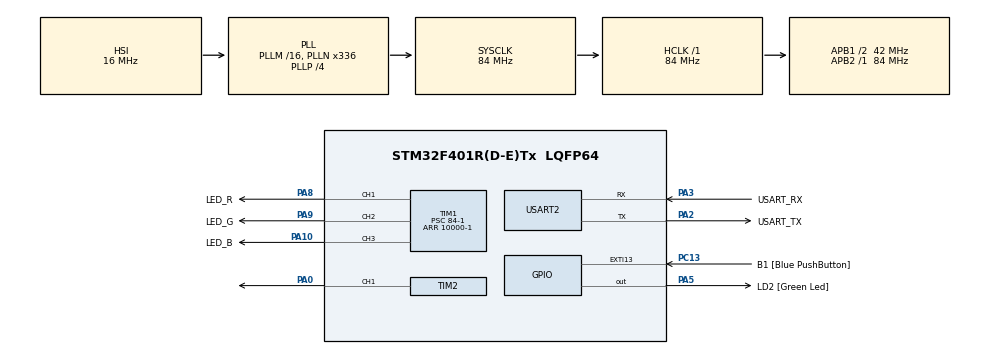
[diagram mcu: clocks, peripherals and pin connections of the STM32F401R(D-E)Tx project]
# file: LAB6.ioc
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Mcu.Family=STM32F4
Mcu.Name=STM32F401R(D-E)Tx
Mcu.Package=LQFP64
NVIC.PriorityGroup=NVIC_PRIORITYGROUP_0
NVIC.TIM1_UP_TIM10_IRQn=true\:0\:0\:false\:false\:true\:true\:true\:true
NVIC.TIM2_IRQn=true\:0\:0\:false\:false\:true\:true\:true\:true
PA0-WKUP.Signal=S_TIM2_CH1_ETR
PA10.GPIO_Label=LED_B
PA10.Signal=S_TIM1_CH3
PA13.GPIO_Label=TMS
PA13.Mode=Serial_Wire
PA13.Signal=SYS_JTMS-SWDIO
PA14.GPIO_Label=TCK
PA14.Mode=Serial_Wire
PA14.Signal=SYS_JTCK-SWCLK
PA2.GPIO_Label=USART_TX
PA2.GPIO_Mode=GPIO_MODE_AF_PP
PA2.GPIO_PuPd=GPIO_NOPULL
PA2.GPIO_Speed=GPIO_SPEED_FREQ_LOW
PA2.Mode=Asynchronous
PA2.Signal=USART2_TX
PA3.GPIO_Label=USART_RX
PA3.GPIO_Mode=GPIO_MODE_AF_PP
PA3.GPIO_PuPd=GPIO_NOPULL
PA3.GPIO_Speed=GPIO_SPEED_FREQ_LOW
PA3.Mode=Asynchronous
PA3.Signal=USART2_RX
PA5.GPIO_Label=LD2 [Green Led]
PA5.GPIO_Mode=GPIO_MODE_OUTPUT_PP
PA5.GPIO_PuPd=GPIO_NOPULL
PA5.GPIO_Speed=GPIO_SPEED_FREQ_LOW
PA5.Signal=GPIO_Output
PA8.GPIO_Label=LED_R
PA8.Signal=S_TIM1_CH1
PA9.GPIO_Label=LED_G
PA9.Signal=S_TIM1_CH2
PB3.GPIO_Label=SWO
PB3.Signal=SYS_JTDO-SWO
PC13-ANTI_TAMP.GPIO_Label=B1 [Blue PushButton]
PC13-ANTI_TAMP.GPIO_ModeDefaultEXTI=GPIO_MODE_IT_FALLING
PC13-ANTI_TAMP.GPIO_PuPd=GPIO_NOPULL
PC13-ANTI_TAMP.Signal=GPXTI13
PC14-OSC32_IN.Mode=LSE-External-Oscillator
PC14-OSC32_IN.Signal=RCC_OSC32_IN
PC15-OSC32_OUT.Mode=LSE-External-Oscillator
PC15-OSC32_OUT.Signal=RCC_OSC32_OUT
PH0\ -\ OSC_IN.Mode=HSE-External-Clock-Source
PH0\ -\ OSC_IN.Signal=RCC_OSC_IN
PH1\ -\ OSC_OUT.Mode=HSE-External-Clock-Source
PH1\ -\ OSC_OUT.Signal=RCC_OSC_OUT
ProjectManager.HeapSize=0x200
ProjectManager.StackSize=0x400
ProjectManager.TargetToolchain=STM32CubeIDE
RCC.48MHZClocksFreq_Value=48000000
RCC.AHBFreq_Value=84000000
RCC.APB1CLKDivider=RCC_HCLK_DIV2
RCC.APB1Freq_Value=42000000
RCC.APB1TimFreq_Value=84000000
RCC.APB2Freq_Value=84000000
RCC.APB2TimFreq_Value=84000000
RCC.CortexFreq_Value=84000000
RCC.HCLKFreq_Value=84000000
RCC.HSE_VALUE=8000000
RCC.HSI_VALUE=16000000
RCC.PLLN=336
RCC.PLLP=RCC_PLLP_DIV4
RCC.PLLQ=7
RCC.SYSCLKFreq_VALUE=84000000
RCC.SYSCLKSource=RCC_SYSCLKSOURCE_PLLCLK
RCC.VCOOutputFreq_Value=336000000
SH.S_TIM1_CH1.0=TIM1_CH1,PWM Generation1 CH1
SH.S_TIM1_CH2.0=TIM1_CH2,PWM Generation2 CH2
SH.S_TIM1_CH3.0=TIM1_CH3,PWM Generation3 CH3
SH.S_TIM2_CH1_ETR.0=TIM2_CH1,PWM Generation1 CH1
TIM1.Channel-PWM\ Generation1\ CH1=TIM_CHANNEL_1
TIM1.Channel-PWM\ Generation2\ CH2=TIM_CHANNEL_2
TIM1.Channel-PWM\ Generation3\ CH3=TIM_CHANNEL_3
TIM1.Period=10000-1
TIM1.Prescaler=84-1
TIM2.Channel-PWM\ Generation1\ CH1=TIM_CHANNEL_1
TIM2.Period=1000
USART2.VirtualMode=VM_ASYNC
VP_TIM1_VS_ClockSourceINT.Mode=Internal
VP_TIM2_VS_ClockSourceINT.Mode=Internal
board=NUCLEO-F401RE

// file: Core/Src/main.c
/* USER CODE BEGIN Header */
/**
  ******************************************************************************
  * @file           : main.c
  * @brief          : Main program body
  ******************************************************************************
  * @attention
  *
  * Copyright (c) 2024 STMicroelectronics.
  * All rights reserved.
  *
  * This software is licensed under terms that can be found in the LICENSE file
  * in the root directory of this software component.
  * If no LICENSE file comes with this software, it is provided AS-IS.
  *
  ******************************************************************************
  */
/* USER CODE END Header */
#include "main.h"

/* USER CODE BEGIN Includes */
#include "math.h"
#include "samples.h"
/* USER CODE END Includes */

TIM_HandleTypeDef htim1;
TIM_HandleTypeDef htim2;

UART_HandleTypeDef huart2;

/* USER CODE BEGIN PV */
uint32_t isr_count;
//static float t = 0.0f;
const float offset = M_TWOPI / 3.0f;
const float half_arr = 5000; /* set to (ARR+1) / 2.0f !!! */
const float freq = 0.5f;
int runcode = 0;
int startcode = 0;
uint16_t sample_counter = 0;
/* USER CODE END PV */

void SystemClock_Config(void);
static void MX_GPIO_Init(void);
static void MX_USART2_UART_Init(void);
static void MX_TIM1_Init(void);
static void MX_TIM2_Init(void);

/* USER CODE BEGIN 0 */
void HAL_TIM_PeriodElapsedCallback( TIM_HandleTypeDef *htim )
{
	if (htim->Instance == TIM1)
	{
		runcode = 1;
	}
	if(htim->Instance == TIM2)
	{
		startcode = 1;
		sample_counter++;
	}
}
/* USER CODE END 0 */

int main(void)
{

  /* USER CODE BEGIN 1 */
	static float t = 0.0f;
	const float offset = M_TWOPI / 3.0f;
	const float half_arr = 5000;

	float rf = 0.0f;
	float gf = 0.0f;
	float bf = 0.0f;
  /* USER CODE END 1 */

  /* MCU Configuration--------------------------------------------------------*/

  /* Reset of all peripherals, Initializes the Flash interface and the Systick. */
  HAL_Init();

  /* Configure the system clock */
  SystemClock_Config();

  /* Initialize all configured peripherals */
  MX_GPIO_Init();
  MX_USART2_UART_Init();
  MX_TIM1_Init();
  MX_TIM2_Init();
  /* USER CODE BEGIN 2 */

  HAL_TIM_Base_Start_IT(&htim1);
  HAL_TIM_Base_Start_IT(&htim2);
  HAL_TIM_PWM_Start(&htim2, TIM_CHANNEL_1);
  HAL_TIM_PWM_Start(&htim1, TIM_CHANNEL_1);
  HAL_TIM_PWM_Start(&htim1, TIM_CHANNEL_2);
  HAL_TIM_PWM_Start(&htim1, TIM_CHANNEL_3);

  /* USER CODE END 2 */

  /* Infinite loop */
  /* USER CODE BEGIN WHILE */
  while (1)
  {
	  if (runcode) {
		  rf = sinf((M_TWOPI * t * freq) + (0 * offset));
		  gf = sinf((M_TWOPI * t * freq) + (1 * offset));
		  bf = sinf((M_TWOPI * t * freq) + (2 * offset));

		  rf = (rf + 1.0) * half_arr * 1;	 //
		  gf = (gf + 1.0) * half_arr * 0.5;  //Grön lyser starkast för samma ljusintensitet
		  bf = (bf + 1.0) * half_arr * 0.8;

		  t += 0.01;

		  __HAL_TIM_SET_COMPARE(&htim1, TIM_CHANNEL_1, rf);
		  __HAL_TIM_SET_COMPARE(&htim1, TIM_CHANNEL_2, gf);
		  __HAL_TIM_SET_COMPARE(&htim1, TIM_CHANNEL_3, bf);

			runcode = 0;
	  }
	  if(startcode)
	  {
		  uint32_t duty = samples[sample_counter];
		  duty += 16384;
		  duty /= 4;
		  __HAL_TIM_SET_COMPARE(&htim2, TIM_CHANNEL_1, duty);
		  startcode = 0;
	  }
    /* USER CODE END WHILE */

  }
}

void SystemClock_Config(void)
{
  RCC_OscInitTypeDef RCC_OscInitStruct = {0};
  RCC_ClkInitTypeDef RCC_ClkInitStruct = {0};

  /** Configure the main internal regulator output voltage
  */
  __HAL_RCC_PWR_CLK_ENABLE();
  __HAL_PWR_VOLTAGESCALING_CONFIG(PWR_REGULATOR_VOLTAGE_SCALE2);

  /** Initializes the RCC Oscillators according to the specified parameters
  * in the RCC_OscInitTypeDef structure.
  */
  RCC_OscInitStruct.OscillatorType = RCC_OSCILLATORTYPE_HSI;
  RCC_OscInitStruct.HSIState = RCC_HSI_ON;
  RCC_OscInitStruct.HSICalibrationValue = RCC_HSICALIBRATION_DEFAULT;
  RCC_OscInitStruct.PLL.PLLState = RCC_PLL_ON;
  RCC_OscInitStruct.PLL.PLLSource = RCC_PLLSOURCE_HSI;
  RCC_OscInitStruct.PLL.PLLM = 16;
  RCC_OscInitStruct.PLL.PLLN = 336;
  RCC_OscInitStruct.PLL.PLLP = RCC_PLLP_DIV4;
  RCC_OscInitStruct.PLL.PLLQ = 7;
  if (HAL_RCC_OscConfig(&RCC_OscInitStruct) != HAL_OK)
  {
    Error_Handler();
  }

  /** Initializes the CPU, AHB and APB buses clocks
  */
  RCC_ClkInitStruct.ClockType = RCC_CLOCKTYPE_HCLK|RCC_CLOCKTYPE_SYSCLK
                              |RCC_CLOCKTYPE_PCLK1|RCC_CLOCKTYPE_PCLK2;
  RCC_ClkInitStruct.SYSCLKSource = RCC_SYSCLKSOURCE_PLLCLK;
  RCC_ClkInitStruct.AHBCLKDivider = RCC_SYSCLK_DIV1;
  RCC_ClkInitStruct.APB1CLKDivider = RCC_HCLK_DIV2;
  RCC_ClkInitStruct.APB2CLKDivider = RCC_HCLK_DIV1;

  if (HAL_RCC_ClockConfig(&RCC_ClkInitStruct, FLASH_LATENCY_2) != HAL_OK)
  {
    Error_Handler();
  }
}

static void MX_TIM1_Init(void)
{

  TIM_ClockConfigTypeDef sClockSourceConfig = {0};
  TIM_MasterConfigTypeDef sMasterConfig = {0};
  TIM_OC_InitTypeDef sConfigOC = {0};
  TIM_BreakDeadTimeConfigTypeDef sBreakDeadTimeConfig = {0};

  htim1.Instance = TIM1;
  htim1.Init.Prescaler = 84-1;
  htim1.Init.CounterMode = TIM_COUNTERMODE_UP;
  htim1.Init.Period = 10000-1;
  htim1.Init.ClockDivision = TIM_CLOCKDIVISION_DIV1;
  htim1.Init.RepetitionCounter = 0;
  htim1.Init.AutoReloadPreload = TIM_AUTORELOAD_PRELOAD_DISABLE;
  if (HAL_TIM_Base_Init(&htim1) != HAL_OK)
  {
    Error_Handler();
  }
  sClockSourceConfig.ClockSource = TIM_CLOCKSOURCE_INTERNAL;
  if (HAL_TIM_ConfigClockSource(&htim1, &sClockSourceConfig) != HAL_OK)
  {
    Error_Handler();
  }
  if (HAL_TIM_PWM_Init(&htim1) != HAL_OK)
  {
    Error_Handler();
  }
  sMasterConfig.MasterOutputTrigger = TIM_TRGO_RESET;
  sMasterConfig.MasterSlaveMode = TIM_MASTERSLAVEMODE_DISABLE;
  if (HAL_TIMEx_MasterConfigSynchronization(&htim1, &sMasterConfig) != HAL_OK)
  {
    Error_Handler();
  }
  sConfigOC.OCMode = TIM_OCMODE_PWM1;
  sConfigOC.Pulse = 0;
  sConfigOC.OCPolarity = TIM_OCPOLARITY_HIGH;
  sConfigOC.OCNPolarity = TIM_OCNPOLARITY_HIGH;
  sConfigOC.OCFastMode = TIM_OCFAST_DISABLE;
  sConfigOC.OCIdleState = TIM_OCIDLESTATE_RESET;
  sConfigOC.OCNIdleState = TIM_OCNIDLESTATE_RESET;
  if (HAL_TIM_PWM_ConfigChannel(&htim1, &sConfigOC, TIM_CHANNEL_1) != HAL_OK)
  {
    Error_Handler();
  }
  if (HAL_TIM_PWM_ConfigChannel(&htim1, &sConfigOC, TIM_CHANNEL_2) != HAL_OK)
  {
    Error_Handler();
  }
  if (HAL_TIM_PWM_ConfigChannel(&htim1, &sConfigOC, TIM_CHANNEL_3) != HAL_OK)
  {
    Error_Handler();
  }
  sBreakDeadTimeConfig.OffStateRunMode = TIM_OSSR_DISABLE;
  sBreakDeadTimeConfig.OffStateIDLEMode = TIM_OSSI_DISABLE;
  sBreakDeadTimeConfig.LockLevel = TIM_LOCKLEVEL_OFF;
  sBreakDeadTimeConfig.DeadTime = 0;
  sBreakDeadTimeConfig.BreakState = TIM_BREAK_DISABLE;
  sBreakDeadTimeConfig.BreakPolarity = TIM_BREAKPOLARITY_HIGH;
  sBreakDeadTimeConfig.AutomaticOutput = TIM_AUTOMATICOUTPUT_DISABLE;
  if (HAL_TIMEx_ConfigBreakDeadTime(&htim1, &sBreakDeadTimeConfig) != HAL_OK)
  {
    Error_Handler();
  }
  HAL_TIM_MspPostInit(&htim1);

}

static void MX_TIM2_Init(void)
{

  TIM_ClockConfigTypeDef sClockSourceConfig = {0};
  TIM_MasterConfigTypeDef sMasterConfig = {0};
  TIM_OC_InitTypeDef sConfigOC = {0};

  htim2.Instance = TIM2;
  htim2.Init.Prescaler = 0;
  htim2.Init.CounterMode = TIM_COUNTERMODE_UP;
  htim2.Init.Period = 1000;
  htim2.Init.ClockDivision = TIM_CLOCKDIVISION_DIV1;
  htim2.Init.AutoReloadPreload = TIM_AUTORELOAD_PRELOAD_DISABLE;
  if (HAL_TIM_Base_Init(&htim2) != HAL_OK)
  {
    Error_Handler();
  }
  sClockSourceConfig.ClockSource = TIM_CLOCKSOURCE_INTERNAL;
  if (HAL_TIM_ConfigClockSource(&htim2, &sClockSourceConfig) != HAL_OK)
  {
    Error_Handler();
  }
  if (HAL_TIM_PWM_Init(&htim2) != HAL_OK)
  {
    Error_Handler();
  }
  sMasterConfig.MasterOutputTrigger = TIM_TRGO_RESET;
  sMasterConfig.MasterSlaveMode = TIM_MASTERSLAVEMODE_DISABLE;
  if (HAL_TIMEx_MasterConfigSynchronization(&htim2, &sMasterConfig) != HAL_OK)
  {
    Error_Handler();
  }
  sConfigOC.OCMode = TIM_OCMODE_PWM1;
  sConfigOC.Pulse = 0;
  sConfigOC.OCPolarity = TIM_OCPOLARITY_HIGH;
  sConfigOC.OCFastMode = TIM_OCFAST_DISABLE;
  if (HAL_TIM_PWM_ConfigChannel(&htim2, &sConfigOC, TIM_CHANNEL_1) != HAL_OK)
  {
    Error_Handler();
  }
  HAL_TIM_MspPostInit(&htim2);

}

static void MX_USART2_UART_Init(void)
{

  huart2.Instance = USART2;
  huart2.Init.BaudRate = 115200;
  huart2.Init.WordLength = UART_WORDLENGTH_8B;
  huart2.Init.StopBits = UART_STOPBITS_1;
  huart2.Init.Parity = UART_PARITY_NONE;
  huart2.Init.Mode = UART_MODE_TX_RX;
  huart2.Init.HwFlowCtl = UART_HWCONTROL_NONE;
  huart2.Init.OverSampling = UART_OVERSAMPLING_16;
  if (HAL_UART_Init(&huart2) != HAL_OK)
  {
    Error_Handler();
  }

}

static void MX_GPIO_Init(void)
{
  GPIO_InitTypeDef GPIO_InitStruct = {0};

  /* GPIO Ports Clock Enable */
  __HAL_RCC_GPIOC_CLK_ENABLE();
  __HAL_RCC_GPIOH_CLK_ENABLE();
  __HAL_RCC_GPIOA_CLK_ENABLE();
  __HAL_RCC_GPIOB_CLK_ENABLE();

  /*Configure GPIO pin Output Level */
  HAL_GPIO_WritePin(LD2_GPIO_Port, LD2_Pin, GPIO_PIN_RESET);

  /*Configure GPIO pin : B1_Pin */
  GPIO_InitStruct.Pin = B1_Pin;
  GPIO_InitStruct.Mode = GPIO_MODE_IT_FALLING;
  GPIO_InitStruct.Pull = GPIO_NOPULL;
  HAL_GPIO_Init(B1_GPIO_Port, &GPIO_InitStruct);

  /*Configure GPIO pin : LD2_Pin */
  GPIO_InitStruct.Pin = LD2_Pin;
  GPIO_InitStruct.Mode = GPIO_MODE_OUTPUT_PP;
  GPIO_InitStruct.Pull = GPIO_NOPULL;
  GPIO_InitStruct.Speed = GPIO_SPEED_FREQ_LOW;
  HAL_GPIO_Init(LD2_GPIO_Port, &GPIO_InitStruct);

}

void Error_Handler(void)
{
  __disable_irq();
  while (1)
  {
  }
}
